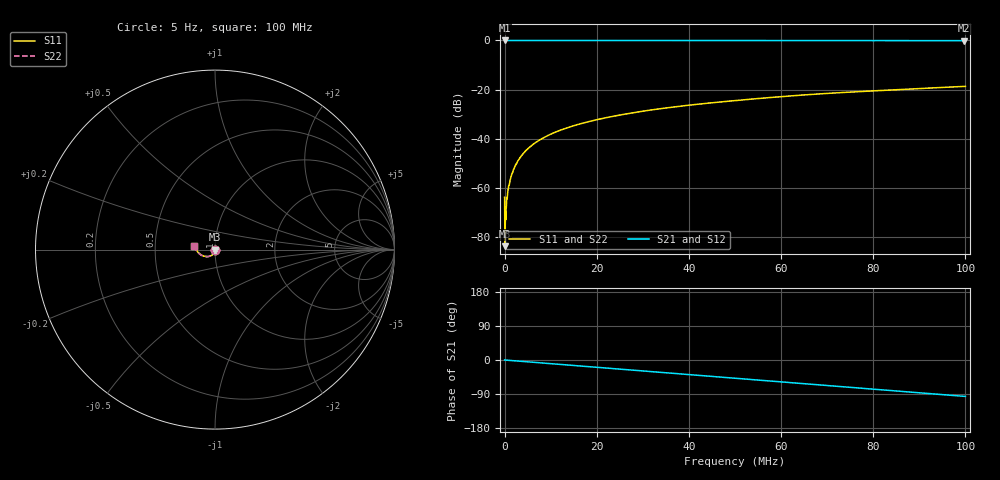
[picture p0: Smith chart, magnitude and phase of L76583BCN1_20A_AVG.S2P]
!Agilent Technologies,E5061B,MY49102235,A.02.00
!Date: Mon Jul 10 16:13:43 2023
!Data & Calibration Information:
!Freq	S11:SOLT2(ON)	S21:SOLT2(ON)	S12:SOLT2(ON)	S22:SOLT2(ON)
# Hz S RI R 50
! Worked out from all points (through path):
!   1600 points, 5 Hz to 100 MHz, reference 50 ohm
!   highest |S21| = 0.01 dB at 5 Hz (marker M1); lowest = -0.1 dB at 99.62 MHz (marker M2)
!   group delay of S21, straight-line fit = 2.67 ns
!   lowest |S11| = -83.6 dB at 62.54 kHz (marker M3), VSWR 1.00, Z = 50 - j0.00359 ohm
!   |S11| at or under -10 dB: start of sweep to end of sweep
!   |S22| runs from -78.3 to -18.6 dB; largest |S21 - S12| = 0.0026
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5  -0.000496 0.000425  1.002 0.00227  1 -2.3e-05  -0.000174 -5.67e-05
62544.08  -5.52e-05 -3.59e-05  0.9999 -0.000833  1 -0.000666  1.53e-05 -0.000121
250161.3  3.87e-05 -0.000225  0.9997 -0.00442  0.9998 -0.00414  3.25e-05 -0.000245
562856.8  0.000114 -0.000599  0.9997 -0.0096  0.9997 -0.00923  6.38e-05 -0.000662
687934.9  -2.55e-05 -0.000845  1 -0.0115  1 -0.0117  -2.32e-05 -0.000772
875552.2  -8.24e-05 -0.00109  0.9996 -0.015  1 -0.0147  -6.95e-05 -0.00107
1063169  -6.79e-05 -0.00124  1 -0.0178  1 -0.0181  -4.85e-05 -0.00132
1313326  -8.78e-05 -0.00158  0.9997 -0.0215  0.9991 -0.0219  -8.49e-05 -0.00162
1813638  -0.000122 -0.00219  0.9999 -0.0303  0.9992 -0.0304  -0.000117 -0.0022
2376490  -8.91e-05 -0.00294  0.9996 -0.0401  0.9992 -0.0399  -0.000101 -0.00293
3877428  -0.000189 -0.00478  0.9978 -0.0652  0.9977 -0.0649  -0.000334 -0.00481
6003757  -0.000643 -0.00752  0.9947 -0.1009  0.9948 -0.1005  -0.000803 -0.00745
8755477  -0.0015 -0.0108  0.9889 -0.1467  0.9891 -0.1465  -0.00162 -0.0106
1.250782e7  -0.00311 -0.0152  0.9776 -0.2086  0.9777 -0.2085  -0.00319 -0.015
1.669794e7  -0.00565 -0.0197  0.9606 -0.2767  0.9606 -0.2767  -0.00559 -0.0197
2.445279e7  -0.0122 -0.0272  0.9165 -0.3991  0.9162 -0.3992  -0.012 -0.0275
3.333334e7  -0.0222 -0.0339  0.8464 -0.5306  0.8465 -0.5305  -0.0218 -0.0345
5.003127e7  -0.0458 -0.0388  0.6659 -0.7434  0.6659 -0.7436  -0.0461 -0.0393
6.672921e7  -0.0737 -0.0317  0.4339 -0.8972  0.4336 -0.8969  -0.0737 -0.0324
8.33646e7  -0.0973 -0.0113  0.169 -0.9801  0.1688 -0.9801  -0.0977 -0.0124
9.962477e7  -0.1146 0.0205  -0.1001 -0.9876  -0.1004 -0.9874  -0.1154 0.0189
1e8  -0.1149 0.0213  -0.1063 -0.9871  -0.1066 -0.9867  -0.1158 0.0196
